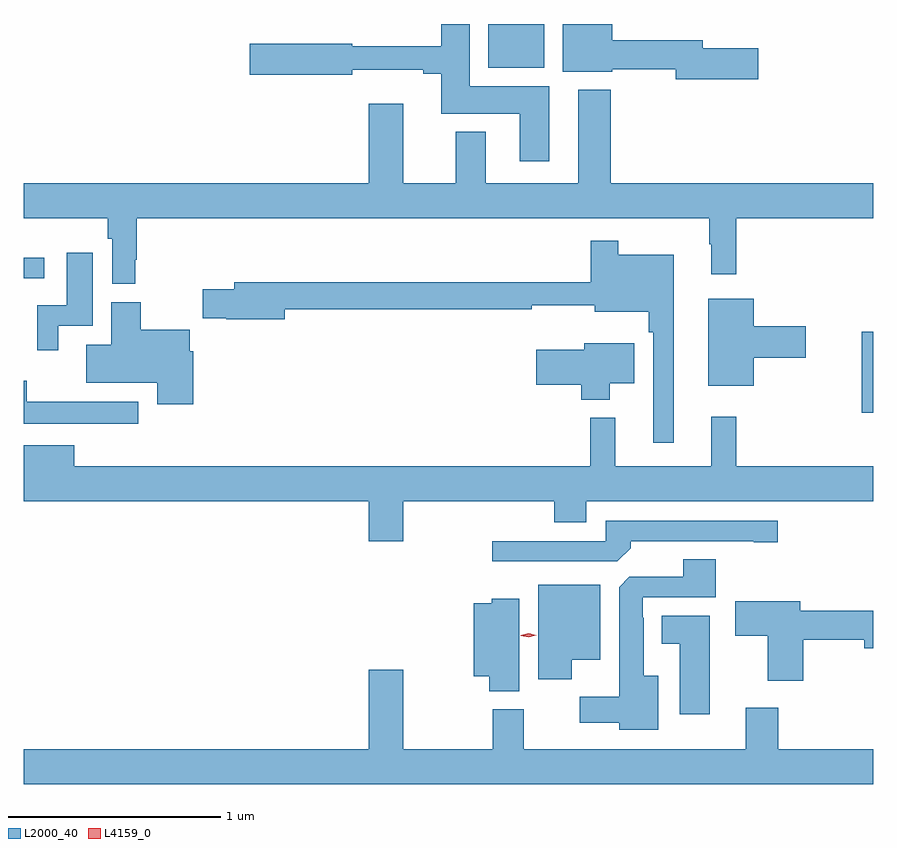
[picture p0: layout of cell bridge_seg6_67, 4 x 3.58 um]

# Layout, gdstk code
import gdstk
lib = gdstk.Library(unit=1e-6, precision=1e-09)
def R(c, l, rs):  # rectangles x0, y0, x1, y1
    for r in rs: c.add(gdstk.rectangle(r[:2], r[2:], *l))
def P(c, l, *ps):  # polygons
    for p in ps: c.add(gdstk.Polygon(p, *l))
L2000_40 = (2000, 40)
L4159_0 = (4159, 0)

bridge_seg6_67 = lib.new_cell('bridge_seg6_67')
R(bridge_seg6_67, L2000_40, [(646.85,971.727,646.904,972.108), (642.904,972.36,643,972.458), (645.092,973.352,645.355,973.558)])
P(bridge_seg6_67, L2000_40, [(646.363,973.445),(646.102,973.445),(646.102,973.481),(645.676,973.481),(645.676,973.558),(645.443,973.558),(645.443,973.334),(645.676,973.334),(645.676,973.345),(645.974,973.345),(645.974,973.298),(646.363,973.298)],
  [(645.379,973.264),(645.004,973.264),(645.004,973.558),(644.87,973.558),(644.87,973.453),(644.452,973.453),(644.452,973.466),(643.968,973.466),(643.968,973.319),(644.452,973.319),(644.452,973.343),(644.786,973.343),(644.786,973.324),(644.87,973.324),(644.87,973.136),(645.239,973.136),(645.239,972.912),(645.379,972.912)],
  [(643.429,972.448),(643.436,972.448),(643.436,972.644),(646.131,972.644),(646.131,972.521),(646.142,972.521),(646.142,972.381),(646.259,972.381),(646.259,972.644),(646.904,972.644),(646.904,972.808),(645.668,972.808),(645.668,973.249),(645.515,973.249),(645.515,972.808),(645.079,972.808),(645.079,973.051),(644.939,973.051),(644.939,972.808),(644.692,972.808),(644.692,973.183),(644.528,973.183),(644.528,972.808),(642.904,972.808),(642.904,972.644),(643.3,972.644),(643.3,972.548),(643.32,972.548),(643.32,972.336),(643.429,972.336)],
  [(645.964,972.472),(645.703,972.472),(645.703,972.538),(645.574,972.538),(645.574,972.343),(643.895,972.343),(643.895,972.309),(643.747,972.309),(643.747,972.172),(643.858,972.172),(643.858,972.167),(644.134,972.167),(644.134,972.214),(645.297,972.214),(645.297,972.233),(645.593,972.233),(645.593,972.203),(645.847,972.203),(645.847,972.107),(645.867,972.107),(645.867,971.586),(645.964,971.586)],
  [(643.066,972.138),(643.228,972.138),(643.228,972.481),(643.106,972.481),(643.106,972.234),(642.968,972.234),(642.968,972.021),(643.066,972.021)],
  [(646.342,971.987),(646.585,971.987),(646.585,972.134),(646.342,972.134),(646.342,972.265),(646.127,972.265),(646.127,971.855),(646.342,971.855)],
  [(643.703,972.017),(643.686,972.017),(643.686,972.118),(643.456,972.118),(643.456,972.247),(643.316,972.247),(643.316,972.049),(643.199,972.049),(643.199,971.87),(643.532,971.87),(643.532,971.769),(643.703,971.769)],
  [(645.664,971.867),(645.778,971.867),(645.778,972.055),(645.542,972.055),(645.542,972.025),(645.318,972.025),(645.318,971.86),(645.53,971.86),(645.53,971.789),(645.664,971.789)],
  [(643.444,971.779),(642.919,971.779),(642.919,971.878),(642.904,971.878),(642.904,971.675),(643.444,971.675)],
  [(644.692,971.312),(645.401,971.312),(645.401,971.213),(645.553,971.213),(645.553,971.312),(646.904,971.312),(646.904,971.476),(646.259,971.476),(646.259,971.71),(646.142,971.71),(646.142,971.476),(645.689,971.476),(645.689,971.704),(645.571,971.704),(645.571,971.476),(643.141,971.476),(643.141,971.575),(642.904,971.575),(642.904,971.312),(644.528,971.312),(644.528,971.124),(644.692,971.124)],
  [(645.761,971.09),(645.761,971.124),(646.34,971.124),(646.34,971.119),(646.453,971.119),(646.453,971.22),(645.645,971.22),(645.645,971.124),(645.111,971.124),(645.111,971.028),(645.699,971.028)],
  [(645.892,970.489),(645.823,970.489),(645.823,970.763),(645.819,970.763),(645.819,970.86),(646.163,970.86),(646.163,971.039),(646.01,971.039),(646.01,970.956),(645.756,970.956),(645.707,970.907),(645.707,970.39),(645.522,970.39),(645.522,970.268),(645.707,970.268),(645.707,970.235),(645.892,970.235)],
  [(645.484,970.565),(645.619,970.565),(645.619,970.918),(645.326,970.918),(645.326,970.473),(645.484,970.473)],
  [(645.238,970.852),(645.108,970.852),(645.108,970.831),(645.023,970.831),(645.023,970.487),(645.097,970.487),(645.097,970.417),(645.238,970.417)],
  [(646.574,970.66),(646.862,970.66),(646.862,970.618),(646.904,970.618),(646.904,970.796),(646.561,970.796),(646.561,970.84),(646.254,970.84),(646.254,970.678),(646.406,970.678),(646.406,970.467),(646.574,970.467)],
  [(646.135,970.771),(645.908,970.771),(645.908,970.64),(645.992,970.64),(645.992,970.308),(646.135,970.308)],
  [(646.304,970.339),(646.304,970.144),(645.259,970.144),(645.259,970.332),(645.112,970.332),(645.112,970.144),(644.692,970.144),(644.692,970.519),(644.528,970.519),(644.528,970.144),(642.904,970.144),(642.904,969.98),(646.904,969.98),(646.904,970.144),(646.457,970.144),(646.457,970.339)])
P(bridge_seg6_67, L4159_0, [(645.282,970.67),(645.245,970.679),(645.245,970.679),(645.245,970.68),(645.281,970.69),(645.318,970.681),(645.318,970.681),(645.318,970.681)])

lib.write_gds('bridge_seg6_67.gds')
